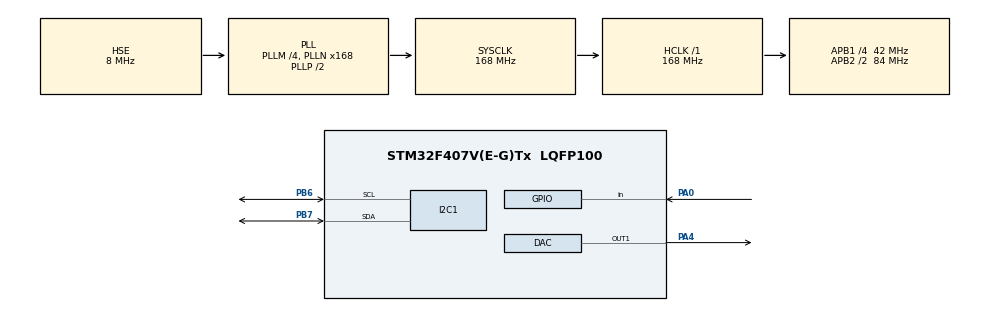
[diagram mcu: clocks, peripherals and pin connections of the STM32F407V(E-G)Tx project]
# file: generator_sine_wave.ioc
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DAC.DAC_Trigger=DAC_TRIGGER_T4_TRGO
DAC.WaveGeneration=DISABLE
Dma.DAC1.0.Direction=DMA_MEMORY_TO_PERIPH
Dma.DAC1.0.FIFOMode=DMA_FIFOMODE_DISABLE
Dma.DAC1.0.Instance=DMA1_Stream5
Dma.DAC1.0.MemDataAlignment=DMA_MDATAALIGN_HALFWORD
Dma.DAC1.0.MemInc=DMA_MINC_ENABLE
Dma.DAC1.0.Mode=DMA_CIRCULAR
Dma.DAC1.0.PeriphDataAlignment=DMA_PDATAALIGN_HALFWORD
Dma.DAC1.0.PeriphInc=DMA_PINC_DISABLE
Dma.DAC1.0.Priority=DMA_PRIORITY_MEDIUM
Dma.Request0=DAC1
Mcu.Family=STM32F4
Mcu.Name=STM32F407V(E-G)Tx
Mcu.Package=LQFP100
NVIC.DMA1_Stream5_IRQn=true\:0\:0\:false\:false\:true
NVIC.PriorityGroup=NVIC_PRIORITYGROUP_4
PA0-WKUP.Signal=GPIO_Input
PA4.Signal=COMP_DAC1_group
PB6.Mode=I2C
PB6.Signal=I2C1_SCL
PB7.Mode=I2C
PB7.Signal=I2C1_SDA
PH0-OSC_IN.Mode=HSE-External-Oscillator
PH0-OSC_IN.Signal=RCC_OSC_IN
PH1-OSC_OUT.Mode=HSE-External-Oscillator
PH1-OSC_OUT.Signal=RCC_OSC_OUT
ProjectManager.HeapSize=0x200
ProjectManager.StackSize=0x400
ProjectManager.TargetToolchain=Makefile
RCC.48MHZClocksFreq_Value=84000000
RCC.AHBFreq_Value=168000000
RCC.APB1CLKDivider=RCC_HCLK_DIV4
RCC.APB1Freq_Value=42000000
RCC.APB1TimFreq_Value=84000000
RCC.APB2CLKDivider=RCC_HCLK_DIV2
RCC.APB2Freq_Value=84000000
RCC.APB2TimFreq_Value=168000000
RCC.CortexFreq_Value=168000000
RCC.HCLKFreq_Value=168000000
RCC.HSE_VALUE=8000000
RCC.HSI_VALUE=16000000
RCC.LSE_VALUE=32768
RCC.PLLM=4
RCC.PLLN=168
RCC.PLLSourceVirtual=RCC_PLLSOURCE_HSE
RCC.SYSCLKFreq_VALUE=168000000
RCC.SYSCLKSource=RCC_SYSCLKSOURCE_PLLCLK
RCC.VCOOutputFreq_Value=336000000
SH.COMP_DAC1_group.0=DAC_OUT1,DAC_OUT1
TIM4.Period=20
TIM4.Prescaler=4
TIM4.TIM_MasterOutputTrigger=TIM_TRGO_UPDATE
VP_TIM4_VS_ClockSourceINT.Mode=Internal
board=generator_sine_wave

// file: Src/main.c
/**
  ******************************************************************************
  * File Name          : main.c
  * Description        : Main program body
  ******************************************************************************
  ** This notice applies to any and all portions of this file
  * that are not between comment pairs USER CODE BEGIN and
  * USER CODE END. Other portions of this file, whether
  * inserted by the user or by software development tools
  * are owned by their respective copyright owners.
  *
  * COPYRIGHT(c) 2019 STMicroelectronics
  *
  * Redistribution and use in source and binary forms, with or without modification,
  * are permitted provided that the following conditions are met:
  *   1. Redistributions of source code must retain the above copyright notice,
  *      this list of conditions and the following disclaimer.
  *   2. Redistributions in binary form must reproduce the above copyright notice,
  *      this list of conditions and the following disclaimer in the documentation
  *      and/or other materials provided with the distribution.
  *   3. Neither the name of STMicroelectronics nor the names of its contributors
  *      may be used to endorse or promote products derived from this software
  *      without specific prior written permission.
  *
  * THIS SOFTWARE IS PROVIDED BY THE COPYRIGHT HOLDERS AND CONTRIBUTORS "AS IS"
  * AND ANY EXPRESS OR IMPLIED WARRANTIES, INCLUDING, BUT NOT LIMITED TO, THE
  * IMPLIED WARRANTIES OF MERCHANTABILITY AND FITNESS FOR A PARTICULAR PURPOSE ARE
  * DISCLAIMED. IN NO EVENT SHALL THE COPYRIGHT HOLDER OR CONTRIBUTORS BE LIABLE
  * FOR ANY DIRECT, INDIRECT, INCIDENTAL, SPECIAL, EXEMPLARY, OR CONSEQUENTIAL
  * DAMAGES (INCLUDING, BUT NOT LIMITED TO, PROCUREMENT OF SUBSTITUTE GOODS OR
  * SERVICES; LOSS OF USE, DATA, OR PROFITS; OR BUSINESS INTERRUPTION) HOWEVER
  * CAUSED AND ON ANY THEORY OF LIABILITY, WHETHER IN CONTRACT, STRICT LIABILITY,
  * OR TORT (INCLUDING NEGLIGENCE OR OTHERWISE) ARISING IN ANY WAY OUT OF THE USE
  * OF THIS SOFTWARE, EVEN IF ADVISED OF THE POSSIBILITY OF SUCH DAMAGE.
  *
  ******************************************************************************
  */
#include "main.h"
#include "stm32f4xx_hal.h"
#include "dac.h"
#include "dma.h"
#include "i2c.h"
#include "tim.h"
#include "gpio.h"

/* USER CODE BEGIN Includes */
#include "LiquidCrystal_I2C.h"
#define DWT_CYCCNT *(volatile unsigned long *)0xE0001004
#define DWT_CONTROL *(volatile unsigned long *)0xE0001000
#define SCB_DEMCR *(volatile unsigned long *)0xE000EDFC
/* USER CODE END Includes */

/* USER CODE BEGIN PV */
#include "math.h"
#define sinus_points 256
#define sinus_amplitude (2048/sinus_points)
/* USER CODE END Includes */

/* Private variables ---------------------------------------------------------*/

/* USER CODE BEGIN PV */
/* Private variables ---------------------------------------------------------*/

float PI = 3.14;
uint16_t sin_table_a[sinus_points];

void sin_init(void)
{
  for (uint32_t i=0; i < sinus_points; i++)
  {
    sin_table_a[(i+sinus_points)]=0;
    sin_table_a[(i+sinus_points) & (sinus_points-1)]=127+255+
    (uint16_t)sinus_amplitude*((sin(i*(float)(2*PI/sinus_points))+1)*(float)(sinus_points/2-1));
  }
}

uint32_t clk_counter=0;
char str[20];
/* USER CODE END PV */

void SystemClock_Config(void);

/* USER CODE BEGIN PFP */
/* Private function prototypes -----------------------------------------------*/

/* USER CODE END PFP */

/* USER CODE BEGIN 0 */
uint8_t i2c_modul = 0x3f; // address  i2c_module
void lcd_start(void)
{
  LiquidCrystal_I2C_Init(&hi2c1, i2c_modul, 16, 2, LCD_5x8DOTS);
  LiquidCrystal_I2C_SetBacklight(1);
  LiquidCrystal_I2C_Cursor();
  LiquidCrystal_I2C_Blink();
  // LiquidCrystal_I2C_NoBlink();

  LiquidCrystal_I2C_SetCursor(6,1);
  LiquidCrystal_I2C_PrintString("*STM32*");

  LiquidCrystal_I2C_SetCursor(0,0);
  HAL_Delay(1000);
  LiquidCrystal_I2C_Clear();
}
/* USER CODE END 0 */

int main(void)
{

  /* USER CODE BEGIN 1 */
  sin_init();
  /* USER CODE END 1 */

  /* MCU Configuration----------------------------------------------------------*/

  /* Reset of all peripherals, Initializes the Flash interface and the Systick. */
  HAL_Init();

  /* Configure the system clock */
  SystemClock_Config();

  /* Initialize all configured peripherals */
  MX_GPIO_Init();
  MX_DMA_Init();
  MX_DAC_Init();
  MX_I2C1_Init();
  MX_TIM4_Init();

  /* USER CODE BEGIN 2 */
  lcd_start();

  uint32_t frq = HAL_RCC_GetHCLKFreq();
  SCB_DEMCR|=0x01000000;
  DWT_CONTROL|=1;
  DWT_CYCCNT = 0;

  HAL_TIM_Base_Start(&htim4);
  HAL_DAC_Start_DMA (&hdac, DAC_CHANNEL_1,(uint32_t*)sin_table_a,sinus_points,DAC_ALIGN_12B_R);

  /* USER CODE END 2 */

  /* Infinite loop */
  /* USER CODE BEGIN WHILE */
  while (1)
  {
    HAL_Delay(300);

    sprintf(str,"%u",clk_counter);//quantity of steps for the period
    LiquidCrystal_I2C_SetCursor(0, 0);
    LiquidCrystal_I2C_PrintString(str);

    sprintf(str,"%u",frq);//quantity of steps for the period
    LiquidCrystal_I2C_SetCursor(6, 0);
    LiquidCrystal_I2C_PrintString(str);

    sprintf(str,"%u",(clk_counter*1000)/(frq/1000));//period time in microseconds
    LiquidCrystal_I2C_SetCursor(0, 1);
    LiquidCrystal_I2C_PrintString(str);

    sprintf(str,"%u",frq/(clk_counter*2));//frequency in hertz
    LiquidCrystal_I2C_SetCursor(8, 1);
    LiquidCrystal_I2C_PrintString(str);

    HAL_Delay(1000);
  /* USER CODE END WHILE */

  }

}

/** System Clock Configuration
*/
void SystemClock_Config(void)
{

  RCC_OscInitTypeDef RCC_OscInitStruct;
  RCC_ClkInitTypeDef RCC_ClkInitStruct;

    /**Configure the main internal regulator output voltage
    */
  __HAL_RCC_PWR_CLK_ENABLE();

  __HAL_PWR_VOLTAGESCALING_CONFIG(PWR_REGULATOR_VOLTAGE_SCALE1);

    /**Initializes the CPU, AHB and APB busses clocks
    */
  RCC_OscInitStruct.OscillatorType = RCC_OSCILLATORTYPE_HSE;
  RCC_OscInitStruct.HSEState = RCC_HSE_ON;
  RCC_OscInitStruct.PLL.PLLState = RCC_PLL_ON;
  RCC_OscInitStruct.PLL.PLLSource = RCC_PLLSOURCE_HSE;
  RCC_OscInitStruct.PLL.PLLM = 4;
  RCC_OscInitStruct.PLL.PLLN = 168;
  RCC_OscInitStruct.PLL.PLLP = RCC_PLLP_DIV2;
  RCC_OscInitStruct.PLL.PLLQ = 4;
  if (HAL_RCC_OscConfig(&RCC_OscInitStruct) != HAL_OK)
  {
    _Error_Handler(__FILE__, __LINE__);
  }

    /**Initializes the CPU, AHB and APB busses clocks
    */
  RCC_ClkInitStruct.ClockType = RCC_CLOCKTYPE_HCLK|RCC_CLOCKTYPE_SYSCLK
                              |RCC_CLOCKTYPE_PCLK1|RCC_CLOCKTYPE_PCLK2;
  RCC_ClkInitStruct.SYSCLKSource = RCC_SYSCLKSOURCE_PLLCLK;
  RCC_ClkInitStruct.AHBCLKDivider = RCC_SYSCLK_DIV1;
  RCC_ClkInitStruct.APB1CLKDivider = RCC_HCLK_DIV4;
  RCC_ClkInitStruct.APB2CLKDivider = RCC_HCLK_DIV2;

  if (HAL_RCC_ClockConfig(&RCC_ClkInitStruct, FLASH_LATENCY_5) != HAL_OK)
  {
    _Error_Handler(__FILE__, __LINE__);
  }

    /**Configure the Systick interrupt time
    */
  HAL_SYSTICK_Config(HAL_RCC_GetHCLKFreq()/1000);

    /**Configure the Systick
    */
  HAL_SYSTICK_CLKSourceConfig(SYSTICK_CLKSOURCE_HCLK);

  /* SysTick_IRQn interrupt configuration */
  HAL_NVIC_SetPriority(SysTick_IRQn, 0, 0);
}

void _Error_Handler(char * file, int line)
{
  while(1)
  {
  }
}

/************************ (C) COPYRIGHT STMicroelectronics *****END OF FILE****/
